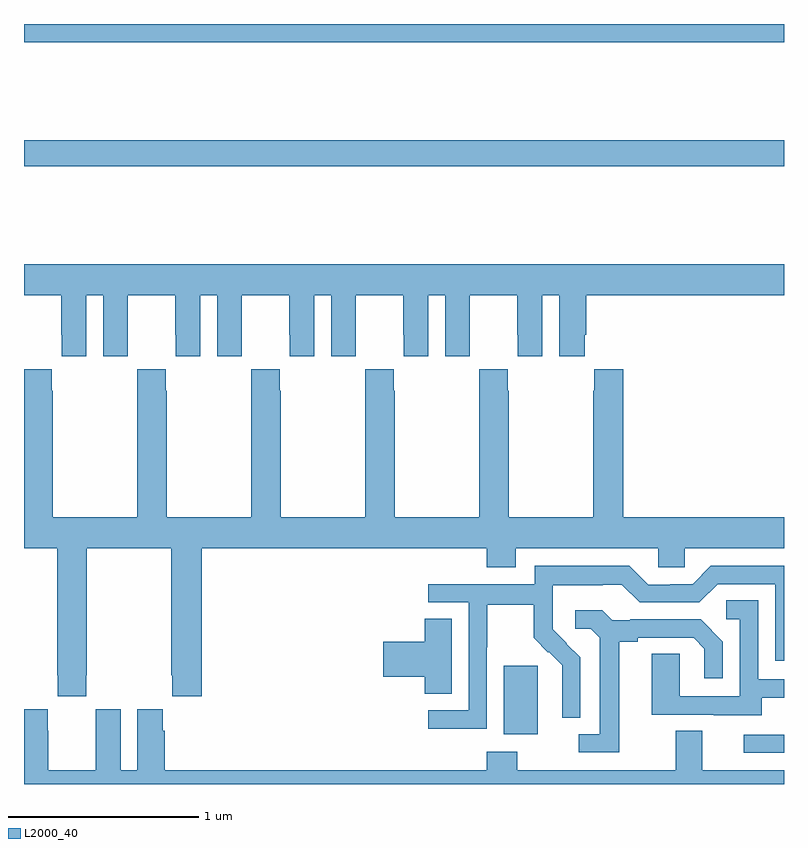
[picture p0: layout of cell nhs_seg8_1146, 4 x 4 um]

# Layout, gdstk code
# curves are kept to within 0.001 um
import gdstk
lib = gdstk.Library(unit=1e-6, precision=1e-09)
def R(c, l, rs):  # rectangles x0, y0, x1, y1
    for r in rs: c.add(gdstk.rectangle(r[:2], r[2:], *l))
def P(c, l, *ps):  # polygons
    for p in ps: c.add(gdstk.Polygon(p, *l))
L2000_40 = (2000, 40)

nhs_seg8_1146 = lib.new_cell('nhs_seg8_1146')
R(nhs_seg8_1146, L2000_40, [(186.789,1142.064,187,1142.16), (185.525,1142.162,185.704,1142.523), (183,1145.152,187,1145.288), (183,1145.804,187,1145.9)])
P(nhs_seg8_1146, L2000_40, [(183,1144.472),(183.197,1144.472),(183.197,1144.264),(183.198,1144.264),(183.198,1144.152),(183.328,1144.152),(183.328,1144.472),(183.416,1144.472),(183.416,1144.152),(183.546,1144.152),(183.546,1144.264),(183.547,1144.264),(183.547,1144.472),(183.797,1144.472),(183.797,1144.264),(183.798,1144.264),(183.798,1144.152),(183.928,1144.152),(183.928,1144.472),(184.016,1144.472),(184.016,1144.152),(184.146,1144.152),(184.146,1144.264),(184.147,1144.264),(184.147,1144.472),(184.397,1144.472),(184.397,1144.264),(184.398,1144.264),(184.398,1144.152),(184.528,1144.152),(184.528,1144.472),(184.616,1144.472),(184.616,1144.152),(184.746,1144.152),(184.746,1144.264),(184.747,1144.264),(184.747,1144.472),(184.997,1144.472),(184.997,1144.264),(184.998,1144.264),(184.998,1144.152),(185.128,1144.152),(185.128,1144.472),(185.216,1144.472),(185.216,1144.152),(185.346,1144.152),(185.346,1144.264),(185.347,1144.264),(185.347,1144.472),(185.597,1144.472),(185.597,1144.264),(185.598,1144.264),(185.598,1144.152),(185.728,1144.152),(185.728,1144.472),(185.816,1144.472),(185.816,1144.152),(185.95,1144.152),(185.95,1144.264),(185.96,1144.264),(185.96,1144.472),(187,1144.472),(187,1144.636),(183,1144.636)],
  [(183.327,1142.473),(183.33,1142.473),(183.33,1143.14),(183.775,1143.14),(183.775,1142.473),(183.781,1142.473),(183.781,1142.361),(183.935,1142.361),(183.935,1143.14),(185.435,1143.14),(185.435,1143.041),(185.587,1143.041),(185.587,1143.14),(186.339,1143.14),(186.339,1143.042),(186.477,1143.042),(186.477,1143.14),(187,1143.14),(187,1143.304),(186.155,1143.304),(186.155,1144.084),(186.001,1144.084),(186.001,1143.971),(185.995,1143.971),(185.995,1143.304),(185.55,1143.304),(185.55,1143.971),(185.547,1143.971),(185.547,1144.084),(185.397,1144.084),(185.397,1143.971),(185.395,1143.971),(185.395,1143.304),(184.95,1143.304),(184.95,1143.971),(184.947,1143.971),(184.947,1144.084),(184.797,1144.084),(184.797,1143.971),(184.795,1143.971),(184.795,1143.304),(184.35,1143.304),(184.35,1143.971),(184.347,1143.971),(184.347,1144.084),(184.197,1144.084),(184.197,1143.971),(184.195,1143.971),(184.195,1143.304),(183.75,1143.304),(183.75,1143.971),(183.747,1143.971),(183.747,1144.084),(183.597,1144.084),(183.597,1143.971),(183.595,1143.971),(183.595,1143.304),(183.15,1143.304),(183.15,1143.971),(183.147,1143.971),(183.147,1144.084),(183,1144.084),(183,1143.14),(183.175,1143.14),(183.175,1142.473),(183.177,1142.473),(183.177,1142.361),(183.327,1142.361)],
  [(185.436,1142.62),(185.439,1142.62),(185.439,1142.844),(185.683,1142.844),(185.683,1142.669),(185.76,1142.592),(185.763,1142.595),(185.834,1142.525),(185.834,1142.402),(185.832,1142.402),(185.832,1142.248),(185.928,1142.248),(185.928,1142.566),(185.782,1142.714),(185.782,1142.811),(185.784,1142.811),(185.784,1142.945),(186.047,1142.945),(186.047,1142.949),(186.147,1142.949),(186.24,1142.856),(186.555,1142.856),(186.651,1142.952),(186.954,1142.952),(186.954,1142.55),(187,1142.55),(187,1143.048),(186.615,1143.048),(186.519,1142.952),(186.401,1142.952),(186.401,1142.949),(186.285,1142.949),(186.185,1143.049),(185.688,1143.049),(185.688,1142.952),(185.127,1142.952),(185.127,1142.856),(185.34,1142.856),(185.34,1142.289),(185.127,1142.289),(185.127,1142.191),(185.436,1142.191)],
  [(186.883,1142.355),(187,1142.355),(187,1142.451),(186.864,1142.451),(186.864,1142.867),(186.696,1142.867),(186.696,1142.766),(186.768,1142.766),(186.768,1142.361),(186.45,1142.361),(186.45,1142.585),(186.305,1142.585),(186.305,1142.265),(186.629,1142.265),(186.629,1142.261),(186.883,1142.261)],
  [(186.133,1142.648),(186.229,1142.648),(186.229,1142.67),(186.524,1142.67),(186.581,1142.613),(186.581,1142.457),(186.678,1142.457),(186.678,1142.65),(186.562,1142.766),(186.19,1142.766),(186.19,1142.763),(186.096,1142.763),(186.044,1142.815),(185.901,1142.815),(185.901,1142.718),(185.982,1142.718),(186.029,1142.671),(186.029,1142.163),(185.919,1142.163),(185.919,1142.067),(186.133,1142.067)],
  [(185.251,1142.771),(185.108,1142.771),(185.108,1142.648),(184.89,1142.648),(184.89,1142.465),(185.108,1142.465),(185.108,1142.374),(185.251,1142.374)],
  [(187,1141.972),(186.571,1141.972),(186.571,1142.18),(186.431,1142.18),(186.431,1141.972),(185.595,1141.972),(185.595,1142.071),(185.435,1142.071),(185.435,1141.972),(183.74,1141.972),(183.74,1142.18),(183.73,1142.18),(183.73,1142.293),(183.596,1142.293),(183.596,1141.972),(183.508,1141.972),(183.508,1142.293),(183.378,1142.293),(183.378,1142.18),(183.377,1142.18),(183.377,1141.972),(183.127,1141.972),(183.127,1142.18),(183.126,1142.18),(183.126,1142.293),(183,1142.293),(183,1141.9),(187,1141.9)])

lib.write_gds('nhs_seg8_1146.gds')
